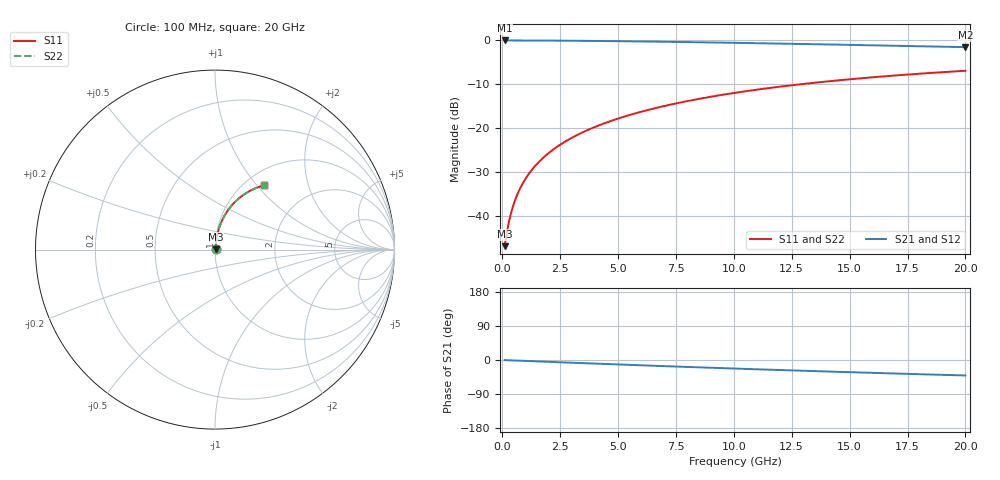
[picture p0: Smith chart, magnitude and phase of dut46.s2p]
! Touchstone file exported from HFSS 2024.1.0
!  File:  C:/UserFiles/LocalFiles/RDL_TSV_Batchsim/temp_RDL_bottom_46_1778692779.aedt
!  Generated:  01:22:43 AM May 14, 2026
!  Design:  RDL_bottom
!  Project:  temp_RDL_bottom_46_1778692779
!  Setup:  Setup1
!  Solution:  Sweep
! Variables:
!  dtsv = 10.80580581um
!  hbump = 3um
!  htsv = 59.34um
!  ldown = 531.17um
!  lrdl = 100um
!  p = 40
!  p1 = 50.11um
!  rhole = 1um
!  t = 450um
!  tdown = 3.85um
!  trdl = 3.915915916um
!  wdown = 13.98um
!  wrdl = 20um
# GHz S MA R 50.000000
! Terminal data exported
! Port[1] = RDL1_T1
! Port[2] = RDL1_T2
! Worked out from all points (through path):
!   200 points, 100 MHz to 20 GHz, reference 50 ohm
!   highest |S21| = -0.03 dB at 100 MHz (marker M1); lowest = -1.6 dB at 20 GHz (marker M2)
!   group delay of S21, straight-line fit = 5.66 ps
!   lowest |S11| = -47.0 dB at 100 MHz (marker M3), VSWR 1.01, Z = 50.4 + j0.27 ohm
!   |S11| at or under -10 dB: start of sweep to 12.92 GHz
!   |S22| runs from -47.0 to -6.9 dB; largest |S21 - S12| = 2.7e-15
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0.1  0.004483 36.7  0.9964 -0.2  0.9964 -0.2  0.004483 36.7
! Gamma 0 0 0 0
! Port Impedance 50 0 50 0
0.2  0.006483 55.4  0.9963 -0.5  0.9963 -0.5  0.006483 55.4
0.3  0.008818 64.4  0.9962 -0.7  0.9962 -0.7  0.008818 64.4
0.4  0.01125 69.5  0.9961 -1.0  0.9961 -1.0  0.01125 69.5
0.5  0.01373 72.7  0.9959 -1.2  0.9959 -1.2  0.01373 72.7
0.6  0.01622 74.9  0.9958 -1.5  0.9958 -1.5  0.01622 74.9
0.8  0.02123 77.6  0.9955 -1.9  0.9955 -1.9  0.02123 77.6
1.1  0.02879 79.8  0.9949 -2.7  0.9949 -2.7  0.02879 79.8
1.5  0.03894 81.2  0.9941 -3.6  0.9941 -3.6  0.03894 81.2
1.8  0.04658 81.6  0.9933 -4.3  0.9933 -4.3  0.04658 81.6
2.1  0.05423 81.8  0.9924 -5.1  0.9924 -5.1  0.05423 81.8
2.7  0.06955 81.6  0.9902 -6.5  0.9902 -6.5  0.06955 81.6
3.5  0.08996 80.9  0.9866 -8.4  0.9866 -8.4  0.08996 80.9
4.2  0.1078 80.0  0.9828 -10.0  0.9828 -10.0  0.1078 80.0
5  0.1281 78.9  0.9778 -11.8  0.9778 -11.8  0.1281 78.9
5.9  0.1508 77.5  0.9716 -13.8  0.9716 -13.8  0.1508 77.5
6.8  0.1733 75.9  0.9648 -15.8  0.9648 -15.8  0.1732 75.9
8.3  0.2101 73.3  0.9523 -19.0  0.9523 -19.0  0.2101 73.3
10.1  0.2529 70.0  0.9361 -22.7  0.9361 -22.7  0.2529 70.0
13.4  0.3264 64.0  0.9038 -29.2  0.9038 -29.2  0.3264 64.0
16.7  0.3921 58.2  0.8699 -35.2  0.8699 -35.2  0.3921 58.2
20  0.4495 52.7  0.8358 -40.8  0.8358 -40.8  0.4494 52.7
